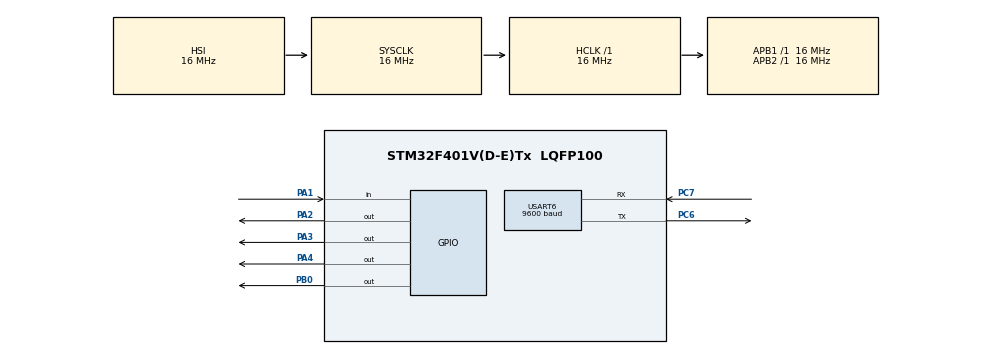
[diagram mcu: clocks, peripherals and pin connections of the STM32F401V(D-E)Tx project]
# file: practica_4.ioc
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Dma.Request0=USART6_RX
Dma.Request1=USART6_TX
Dma.USART6_RX.0.Direction=DMA_PERIPH_TO_MEMORY
Dma.USART6_RX.0.FIFOMode=DMA_FIFOMODE_DISABLE
Dma.USART6_RX.0.Instance=DMA2_Stream1
Dma.USART6_RX.0.MemDataAlignment=DMA_MDATAALIGN_BYTE
Dma.USART6_RX.0.MemInc=DMA_MINC_ENABLE
Dma.USART6_RX.0.Mode=DMA_NORMAL
Dma.USART6_RX.0.PeriphDataAlignment=DMA_PDATAALIGN_BYTE
Dma.USART6_RX.0.PeriphInc=DMA_PINC_DISABLE
Dma.USART6_RX.0.Priority=DMA_PRIORITY_LOW
Dma.USART6_TX.1.Direction=DMA_MEMORY_TO_PERIPH
Dma.USART6_TX.1.FIFOMode=DMA_FIFOMODE_DISABLE
Dma.USART6_TX.1.Instance=DMA2_Stream6
Dma.USART6_TX.1.MemDataAlignment=DMA_MDATAALIGN_BYTE
Dma.USART6_TX.1.MemInc=DMA_MINC_ENABLE
Dma.USART6_TX.1.Mode=DMA_NORMAL
Dma.USART6_TX.1.PeriphDataAlignment=DMA_PDATAALIGN_BYTE
Dma.USART6_TX.1.PeriphInc=DMA_PINC_DISABLE
Dma.USART6_TX.1.Priority=DMA_PRIORITY_LOW
Mcu.Family=STM32F4
Mcu.Name=STM32F401V(D-E)Tx
Mcu.Package=LQFP100
NVIC.DMA2_Stream1_IRQn=true\:0\:0\:false\:false\:true\:false\:true
NVIC.DMA2_Stream6_IRQn=true\:0\:0\:false\:false\:true\:false\:true
NVIC.PriorityGroup=NVIC_PRIORITYGROUP_4
NVIC.USART6_IRQn=true\:0\:0\:false\:false\:true\:true\:true
PA1.GPIO_PuPd=GPIO_PULLUP
PA1.Signal=GPIO_Input
PA2.GPIO_ModeDefaultOutputPP=GPIO_MODE_OUTPUT_PP
PA2.GPIO_PuPd=GPIO_NOPULL
PA2.GPIO_Speed=GPIO_SPEED_FREQ_VERY_HIGH
PA2.PinState=GPIO_PIN_RESET
PA2.Signal=GPIO_Output
PA3.GPIO_ModeDefaultOutputPP=GPIO_MODE_OUTPUT_PP
PA3.GPIO_PuPd=GPIO_NOPULL
PA3.GPIO_Speed=GPIO_SPEED_FREQ_VERY_HIGH
PA3.PinState=GPIO_PIN_RESET
PA3.Signal=GPIO_Output
PA4.GPIO_PuPd=GPIO_NOPULL
PA4.GPIO_Speed=GPIO_SPEED_FREQ_VERY_HIGH
PA4.Signal=GPIO_Output
PB0.GPIO_Speed=GPIO_SPEED_FREQ_VERY_HIGH
PB0.Signal=GPIO_Output
PC6.Mode=Asynchronous
PC6.Signal=USART6_TX
PC7.Mode=Asynchronous
PC7.Signal=USART6_RX
ProjectManager.HeapSize=0x200
ProjectManager.StackSize=0x400
ProjectManager.TargetToolchain=STM32CubeIDE
RCC.AHBFreq_Value=16000000
RCC.APB1Freq_Value=16000000
RCC.APB2Freq_Value=16000000
RCC.CortexFreq_Value=16000000
RCC.HSE_VALUE=25000000
RCC.HSI_VALUE=16000000
RCC.LSE_VALUE=32768
RCC.SYSCLKFreq_VALUE=16000000
RCC.VCOOutputFreq_Value=192000000
USART6.BaudRate=9600
USART6.Parity=PARITY_ODD
USART6.VirtualMode=VM_ASYNC
board=custom

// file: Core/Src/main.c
/* USER CODE BEGIN Header */
/**
  ******************************************************************************
  * @file           : main.c
  * @brief          : Main program body
  ******************************************************************************
  * @attention
  *
  * <h2><center>&copy; Copyright (c) 2021 STMicroelectronics.
  * All rights reserved.</center></h2>
  *
  * This software component is licensed by ST under BSD 3-Clause license,
  * the "License"; You may not use this file except in compliance with the
  * License. You may obtain a copy of the License at:
  *                        opensource.org/licenses/BSD-3-Clause
  *
  ******************************************************************************
  */
/* USER CODE END Header */
#include "main.h"

/* USER CODE BEGIN Includes */

#ifdef __GNUC__
/* With GCC, small printf (option LD Linker->Libraries->Small printf
   set to 'Yes') calls __io_putchar() */
#define PUTCHAR_PROTOTYPE int __io_putchar(int ch)
#else
#define PUTCHAR_PROTOTYPE int fputc(int ch, FILE *f)
#endif /* __GNUC__ */
/* USER CODE END Includes */

/* USER CODE BEGIN PD */
#define BOTON GPIO_PIN_1
#define LED1 GPIO_PIN_2
#define LED2 GPIO_PIN_3
#define LED3 GPIO_PIN_4

/* USER CODE END PD */

UART_HandleTypeDef huart6;
DMA_HandleTypeDef hdma_usart6_rx;
DMA_HandleTypeDef hdma_usart6_tx;

void SystemClock_Config(void);
static void MX_GPIO_Init(void);
static void MX_DMA_Init(void);
static void MX_USART6_UART_Init(void);

int main(void)
{

  /* MCU Configuration--------------------------------------------------------*/

  /* Reset of all peripherals, Initializes the Flash interface and the Systick. */
  HAL_Init();

  /* Configure the system clock */
  SystemClock_Config();

  /* Initialize all configured peripherals */
  MX_GPIO_Init();
  MX_DMA_Init();
  MX_USART6_UART_Init();

  /* USER CODE BEGIN 2 */

  printf("\n\r UART Printf Example: retarget the C library printf function to the UART\n\r");
  printf("**Test finished successfully. **\n\r");

  uint8_t prueba[] = "\n\r UART Printf Example: retarget the C library printf function to the UART\n\r";
  uint8_t prueba2[] = "\n\r **Test finished successfully. **\n\r";
  uint8_t mistring[] = "\n\r Hola Mundo \n\r";
  HAL_UART_Transmit(&huart6, prueba, sizeof(prueba)/sizeof(uint8_t), 0xFFF);
  HAL_UART_Transmit(&huart6, prueba, sizeof(prueba2)/sizeof(uint8_t), 0xFFF);
  HAL_UART_Transmit(&huart6, mistring, sizeof(mistring)/sizeof(uint8_t), 0xFFF);

  /* USER CODE END 2 */

  /* Infinite loop */
  while (1)
  {

    /* USER CODE BEGIN 3 */

	  HAL_GPIO_TogglePin(GPIOA, LED1);
	  //HAL_UART_Transmit(&huart6, (uint8_t *)mistring, sizeof(mistring)/sizeof(char), 0xFFF);
	  //HAL_GPIO_WritePin(GPIOA, GPIO_PIN_2, 1);
	  HAL_Delay(500);
  }
  /* USER CODE END 3 */
}

void SystemClock_Config(void)
{
  RCC_OscInitTypeDef RCC_OscInitStruct = {0};
  RCC_ClkInitTypeDef RCC_ClkInitStruct = {0};

  /** Configure the main internal regulator output voltage
  */
  __HAL_RCC_PWR_CLK_ENABLE();
  __HAL_PWR_VOLTAGESCALING_CONFIG(PWR_REGULATOR_VOLTAGE_SCALE2);
  /** Initializes the RCC Oscillators according to the specified parameters
  * in the RCC_OscInitTypeDef structure.
  */
  RCC_OscInitStruct.OscillatorType = RCC_OSCILLATORTYPE_HSI;
  RCC_OscInitStruct.HSIState = RCC_HSI_ON;
  RCC_OscInitStruct.HSICalibrationValue = RCC_HSICALIBRATION_DEFAULT;
  RCC_OscInitStruct.PLL.PLLState = RCC_PLL_NONE;
  if (HAL_RCC_OscConfig(&RCC_OscInitStruct) != HAL_OK)
  {
    Error_Handler();
  }
  /** Initializes the CPU, AHB and APB buses clocks
  */
  RCC_ClkInitStruct.ClockType = RCC_CLOCKTYPE_HCLK|RCC_CLOCKTYPE_SYSCLK
                              |RCC_CLOCKTYPE_PCLK1|RCC_CLOCKTYPE_PCLK2;
  RCC_ClkInitStruct.SYSCLKSource = RCC_SYSCLKSOURCE_HSI;
  RCC_ClkInitStruct.AHBCLKDivider = RCC_SYSCLK_DIV1;
  RCC_ClkInitStruct.APB1CLKDivider = RCC_HCLK_DIV1;
  RCC_ClkInitStruct.APB2CLKDivider = RCC_HCLK_DIV1;

  if (HAL_RCC_ClockConfig(&RCC_ClkInitStruct, FLASH_LATENCY_0) != HAL_OK)
  {
    Error_Handler();
  }
}

static void MX_USART6_UART_Init(void)
{

  huart6.Instance = USART6;
  huart6.Init.BaudRate = 9600;
  huart6.Init.WordLength = UART_WORDLENGTH_8B;
  huart6.Init.StopBits = UART_STOPBITS_1;
  huart6.Init.Parity = UART_PARITY_NONE;
  huart6.Init.Mode = UART_MODE_TX_RX;
  huart6.Init.HwFlowCtl = UART_HWCONTROL_NONE;
  huart6.Init.OverSampling = UART_OVERSAMPLING_16;
  huart6.TxXferSize = 8;
  if (HAL_UART_Init(&huart6) != HAL_OK)
  {
    Error_Handler();
  }

}

static void MX_DMA_Init(void)
{

  /* DMA controller clock enable */
  __HAL_RCC_DMA2_CLK_ENABLE();

  /* DMA interrupt init */
  /* DMA2_Stream1_IRQn interrupt configuration */
  HAL_NVIC_SetPriority(DMA2_Stream1_IRQn, 0, 0);
  HAL_NVIC_EnableIRQ(DMA2_Stream1_IRQn);
  /* DMA2_Stream6_IRQn interrupt configuration */
  HAL_NVIC_SetPriority(DMA2_Stream6_IRQn, 0, 0);
  HAL_NVIC_EnableIRQ(DMA2_Stream6_IRQn);

}

static void MX_GPIO_Init(void)
{
  GPIO_InitTypeDef GPIO_InitStruct = {0};

  /* GPIO Ports Clock Enable */
  __HAL_RCC_GPIOA_CLK_ENABLE();
  __HAL_RCC_GPIOB_CLK_ENABLE();
  __HAL_RCC_GPIOC_CLK_ENABLE();

  /*Configure GPIO pin Output Level */
  HAL_GPIO_WritePin(GPIOA, GPIO_PIN_2|GPIO_PIN_3|GPIO_PIN_4, GPIO_PIN_RESET);

  /*Configure GPIO pin Output Level */
  HAL_GPIO_WritePin(GPIOB, GPIO_PIN_0, GPIO_PIN_RESET);

  /*Configure GPIO pin : PA1 */
  GPIO_InitStruct.Pin = GPIO_PIN_1;
  GPIO_InitStruct.Mode = GPIO_MODE_INPUT;
  GPIO_InitStruct.Pull = GPIO_PULLUP;
  HAL_GPIO_Init(GPIOA, &GPIO_InitStruct);

  /*Configure GPIO pins : PA2 PA3 PA4 */
  GPIO_InitStruct.Pin = GPIO_PIN_2|GPIO_PIN_3|GPIO_PIN_4;
  GPIO_InitStruct.Mode = GPIO_MODE_OUTPUT_PP;
  GPIO_InitStruct.Pull = GPIO_NOPULL;
  GPIO_InitStruct.Speed = GPIO_SPEED_FREQ_VERY_HIGH;
  HAL_GPIO_Init(GPIOA, &GPIO_InitStruct);

  /*Configure GPIO pin : PB0 */
  GPIO_InitStruct.Pin = GPIO_PIN_0;
  GPIO_InitStruct.Mode = GPIO_MODE_OUTPUT_PP;
  GPIO_InitStruct.Pull = GPIO_NOPULL;
  GPIO_InitStruct.Speed = GPIO_SPEED_FREQ_VERY_HIGH;
  HAL_GPIO_Init(GPIOB, &GPIO_InitStruct);

}

/* USER CODE BEGIN 4 */
PUTCHAR_PROTOTYPE
{
  /* Place your implementation of fputc here */
  /* e.g. write a character to the USART3 and Loop until the end of transmission */
  HAL_UART_Transmit(&huart6, (uint8_t *)&ch, 1, 0xFFFF);

  return ch;
}
/* USER CODE END 4 */

void Error_Handler(void)
{
  __disable_irq();
  while (1)
  {
  }
}

/************************ (C) COPYRIGHT STMicroelectronics *****END OF FILE****/
